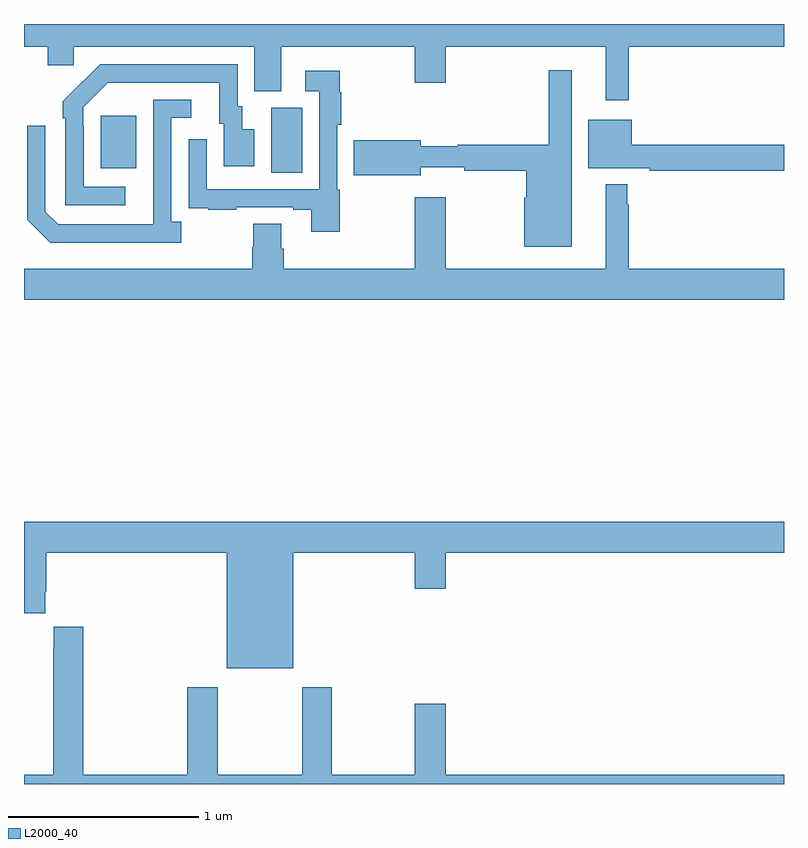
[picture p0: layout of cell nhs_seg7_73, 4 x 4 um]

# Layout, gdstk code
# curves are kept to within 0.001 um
import gdstk
lib = gdstk.Library(unit=1e-6, precision=1e-09)
def R(c, l, rs):  # rectangles x0, y0, x1, y1
    for r in rs: c.add(gdstk.rectangle(r[:2], r[2:], *l))
def P(c, l, *ps):  # polygons
    for p in ps: c.add(gdstk.Polygon(p, *l))
L2000_40 = (2000, 40)

nhs_seg7_73 = lib.new_cell('nhs_seg7_73')
R(nhs_seg7_73, L2000_40, [(116.3,1069.216,116.464,1069.56), (115.403,1069.241,115.591,1069.516)])
P(nhs_seg7_73, L2000_40, [(118.183,1069.88),(119,1069.88),(119,1070),(115,1070),(115,1069.88),(115.124,1069.88),(115.124,1069.782),(115.263,1069.782),(115.263,1069.88),(116.213,1069.88),(116.213,1069.645),(116.353,1069.645),(116.353,1069.88),(117.056,1069.88),(117.056,1069.692),(117.22,1069.692),(117.22,1069.88),(118.061,1069.88),(118.061,1069.599),(118.183,1069.599)],
  [(115.534,1069.143),(115.314,1069.143),(115.314,1069.463),(115.311,1069.463),(115.311,1069.563),(115.44,1069.692),(116.027,1069.692),(116.027,1069.476),(116.051,1069.476),(116.051,1069.251),(116.212,1069.251),(116.212,1069.447),(116.149,1069.447),(116.149,1069.566),(116.124,1069.566),(116.124,1069.788),(115.4,1069.788),(115.203,1069.593),(115.203,1069.505),(115.218,1069.505),(115.218,1069.047),(115.534,1069.047)],
  [(117.883,1069.756),(117.762,1069.756),(117.762,1069.364),(117.284,1069.364),(117.284,1069.357),(117.088,1069.357),(117.088,1069.388),(116.736,1069.388),(116.736,1069.205),(117.088,1069.205),(117.088,1069.247),(117.316,1069.247),(117.316,1069.228),(117.644,1069.228),(117.644,1069.086),(117.632,1069.086),(117.632,1068.827),(117.883,1068.827)],
  [(116.662,1069.128),(116.649,1069.128),(116.649,1069.471),(116.669,1069.471),(116.669,1069.64),(116.662,1069.64),(116.662,1069.753),(116.481,1069.753),(116.481,1069.647),(116.553,1069.647),(116.553,1069.131),(115.962,1069.131),(115.962,1069.393),(115.866,1069.393),(115.866,1069.138),(115.867,1069.138),(115.867,1069.029),(115.969,1069.029),(115.969,1069.023),(116.117,1069.023),(116.117,1069.035),(116.417,1069.035),(116.417,1069.023),(116.513,1069.023),(116.513,1068.906),(116.662,1068.906)],
  [(115.828,1068.958),(115.776,1068.958),(115.776,1069.506),(115.879,1069.506),(115.879,1069.602),(115.68,1069.602),(115.679,1068.945),(115.179,1068.945),(115.113,1069.011),(115.113,1069.465),(115.017,1069.465),(115.017,1068.969),(115.138,1068.848),(115.828,1068.848)],
  [(119,1069.364),(118.198,1069.364),(118.198,1069.495),(117.971,1069.495),(117.971,1069.241),(118.294,1069.241),(118.294,1069.228),(119,1069.228)],
  [(119,1068.712),(118.183,1068.712),(118.183,1069.049),(118.176,1069.049),(118.176,1069.156),(118.061,1069.156),(118.061,1068.712),(117.22,1068.712),(117.22,1069.087),(117.056,1069.087),(117.056,1068.712),(116.366,1068.712),(116.366,1068.818),(116.353,1068.818),(116.353,1068.95),(116.206,1068.95),(116.206,1068.825),(116.201,1068.825),(116.201,1068.712),(115,1068.712),(115,1068.548),(119,1068.548)],
  [(116.416,1067.216),(117.056,1067.216),(117.056,1067.028),(117.22,1067.028),(117.22,1067.216),(119,1067.216),(119,1067.38),(115,1067.38),(115,1066.899),(115.111,1066.899),(115.111,1067.011),(115.118,1067.011),(115.118,1067.216),(116.066,1067.216),(116.066,1066.61),(116.416,1066.61)],
  [(119,1066.048),(117.22,1066.048),(117.22,1066.423),(117.056,1066.423),(117.056,1066.048),(116.619,1066.048),(116.619,1066.51),(116.464,1066.51),(116.464,1066.048),(116.019,1066.048),(116.019,1066.51),(115.859,1066.51),(115.859,1066.048),(115.313,1066.048),(115.313,1066.828),(115.157,1066.828),(115.157,1066.715),(115.153,1066.715),(115.153,1066.048),(115,1066.048),(115,1066),(119,1066)])

lib.write_gds('nhs_seg7_73.gds')
